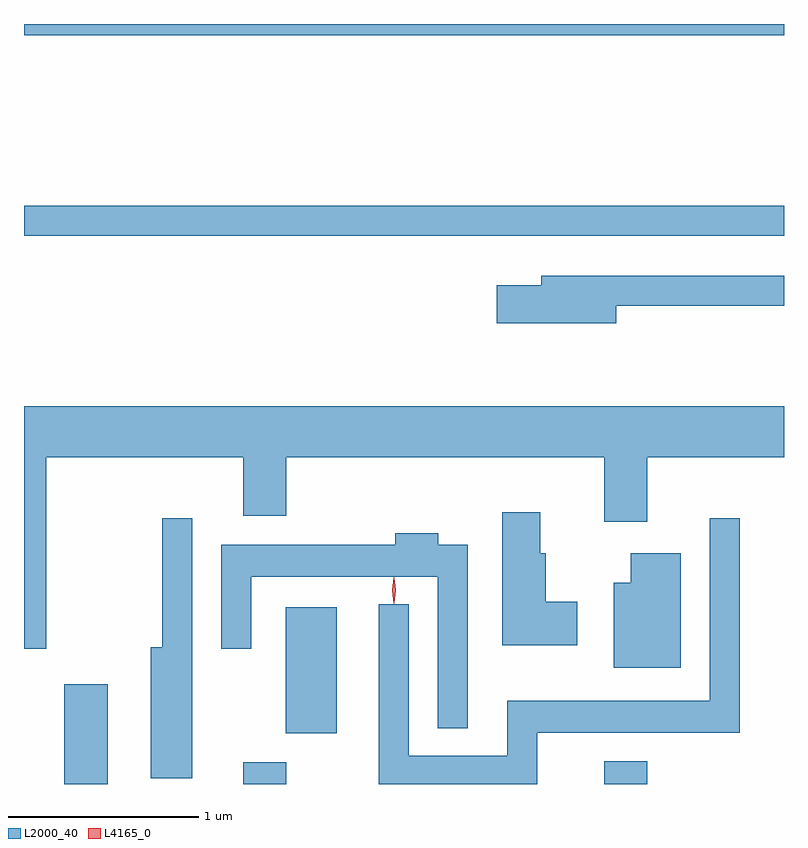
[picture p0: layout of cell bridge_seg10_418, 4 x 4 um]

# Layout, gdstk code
import gdstk
lib = gdstk.Library(unit=1e-6, precision=1e-09)
def R(c, l, rs):  # rectangles x0, y0, x1, y1
    for r in rs: c.add(gdstk.rectangle(r[:2], r[2:], *l))
def P(c, l, *ps):  # polygons
    for p in ps: c.add(gdstk.Polygon(p, *l))
L2000_40 = (2000, 40)
L4165_0 = (4165, 0)

bridge_seg10_418 = lib.new_cell('bridge_seg10_418')
R(bridge_seg10_418, L2000_40, [(1422.891,2087.775,1423.119,2088.299), (1423.831,2087.775,1424.059,2087.889), (1425.731,2087.775,1425.959,2087.894), (1424.056,2088.041,1424.324,2088.704), (1422.678,2090.661,1426.678,2090.819), (1422.678,2091.716,1426.678,2091.775)])
P(bridge_seg10_418, L2000_40, [(1425.794,2090.291),(1426.678,2090.291),(1426.678,2090.449),(1425.401,2090.449),(1425.401,2090.399),(1425.166,2090.399),(1425.166,2090.201),(1425.794,2090.201)],
  [(1422.794,2089.496),(1423.831,2089.496),(1423.831,2089.186),(1424.059,2089.186),(1424.059,2089.496),(1425.731,2089.496),(1425.731,2089.156),(1425.959,2089.156),(1425.959,2089.496),(1426.678,2089.496),(1426.678,2089.764),(1422.678,2089.764),(1422.678,2088.486),(1422.794,2088.486)],
  [(1425.589,2088.734),(1425.424,2088.734),(1425.424,2088.989),(1425.394,2088.989),(1425.394,2089.204),(1425.196,2089.204),(1425.196,2088.506),(1425.589,2088.506)],
  [(1423.564,2089.173),(1423.406,2089.173),(1423.406,2088.494),(1423.346,2088.494),(1423.346,2087.806),(1423.564,2087.806)],
  [(1425.379,2088.046),(1426.444,2088.046),(1426.444,2089.173),(1426.286,2089.173),(1426.286,2088.214),(1425.221,2088.214),(1425.221,2087.924),(1424.704,2087.924),(1424.704,2088.722),(1424.546,2088.722),(1424.546,2087.775),(1425.379,2087.775)],
  [(1425.014,2089.034),(1424.859,2089.034),(1424.859,2089.094),(1424.631,2089.094),(1424.631,2089.034),(1423.716,2089.034),(1423.716,2088.488),(1423.874,2088.488),(1423.874,2088.866),(1424.856,2088.866),(1424.856,2088.068),(1425.014,2088.068)],
  [(1426.134,2088.989),(1425.871,2088.989),(1425.871,2088.834),(1425.781,2088.834),(1425.781,2088.386),(1426.134,2088.386)])
P(bridge_seg10_418, L4165_0, [(1424.624,2088.724),(1424.615,2088.794),(1424.624,2088.862),(1424.625,2088.863),(1424.625,2088.862),(1424.635,2088.794),(1424.625,2088.724),(1424.625,2088.724)],
  [(1424.625,2088.727),(1424.625,2088.727),(1424.616,2088.794),(1424.625,2088.86),(1424.626,2088.86),(1424.626,2088.86),(1424.635,2088.794),(1424.626,2088.727)])

lib.write_gds('bridge_seg10_418.gds')
